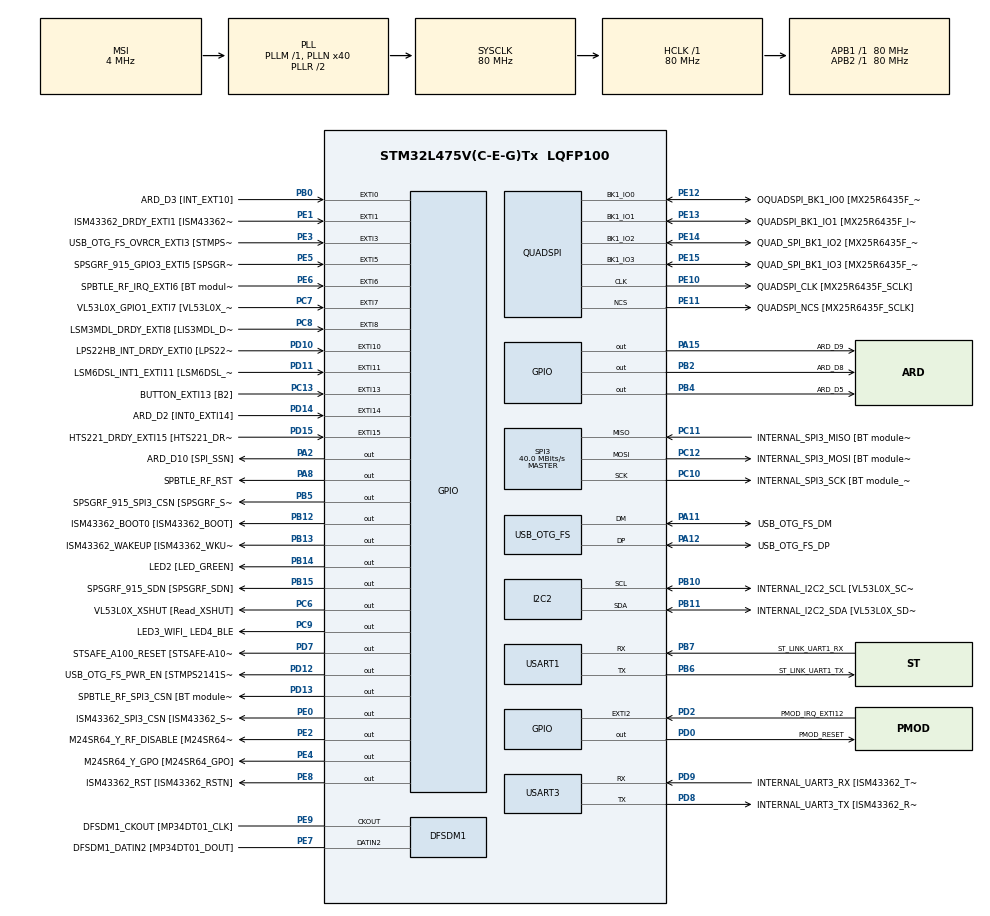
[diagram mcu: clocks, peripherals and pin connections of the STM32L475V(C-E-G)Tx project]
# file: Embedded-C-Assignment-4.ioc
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Dma.I2C2_RX.0.Direction=DMA_PERIPH_TO_MEMORY
Dma.I2C2_RX.0.Instance=DMA1_Channel5
Dma.I2C2_RX.0.MemDataAlignment=DMA_MDATAALIGN_BYTE
Dma.I2C2_RX.0.MemInc=DMA_MINC_ENABLE
Dma.I2C2_RX.0.Mode=DMA_NORMAL
Dma.I2C2_RX.0.PeriphDataAlignment=DMA_PDATAALIGN_BYTE
Dma.I2C2_RX.0.PeriphInc=DMA_PINC_DISABLE
Dma.I2C2_RX.0.Priority=DMA_PRIORITY_LOW
Dma.I2C2_TX.1.Direction=DMA_MEMORY_TO_PERIPH
Dma.I2C2_TX.1.Instance=DMA1_Channel4
Dma.I2C2_TX.1.MemDataAlignment=DMA_MDATAALIGN_BYTE
Dma.I2C2_TX.1.MemInc=DMA_MINC_ENABLE
Dma.I2C2_TX.1.Mode=DMA_NORMAL
Dma.I2C2_TX.1.PeriphDataAlignment=DMA_PDATAALIGN_BYTE
Dma.I2C2_TX.1.PeriphInc=DMA_PINC_DISABLE
Dma.I2C2_TX.1.Priority=DMA_PRIORITY_LOW
Dma.Request0=I2C2_RX
Dma.Request1=I2C2_TX
Mcu.Family=STM32L4
Mcu.Name=STM32L475V(C-E-G)Tx
Mcu.Package=LQFP100
NVIC.DMA1_Channel4_IRQn=true\:0\:0\:false\:false\:true\:false\:true\:true
NVIC.DMA1_Channel5_IRQn=true\:0\:0\:false\:false\:true\:false\:true\:true
NVIC.EXTI15_10_IRQn=true\:0\:0\:false\:false\:true\:true\:true\:true
NVIC.EXTI9_5_IRQn=true\:0\:0\:false\:false\:true\:true\:true\:true
NVIC.I2C2_EV_IRQn=true\:0\:0\:false\:false\:true\:true\:true\:true
NVIC.PriorityGroup=NVIC_PRIORITYGROUP_4
PA0.GPIO_Label=ARD_D1 [UART4_TX]
PA0.Signal=UART4_TX
PA1.GPIO_Label=ARD_D0 [UART4_RX]
PA1.Signal=UART4_RX
PA10.GPIO_Label=USB_OTG_FS_ID
PA10.Signal=USB_OTG_FS_ID
PA11.GPIO_Label=USB_OTG_FS_DM
PA11.Mode=Device_Only
PA11.Signal=USB_OTG_FS_DM
PA12.GPIO_Label=USB_OTG_FS_DP
PA12.Mode=Device_Only
PA12.Signal=USB_OTG_FS_DP
PA13\ (JTMS-SWDIO).GPIO_Label=SYS_JTMS_SWDIO
PA13\ (JTMS-SWDIO).Mode=Serial_Wire
PA13\ (JTMS-SWDIO).Signal=SYS_JTMS-SWDIO
PA14\ (JTCK-SWCLK).GPIO_Label=SYS_JTCK_SWCLK
PA14\ (JTCK-SWCLK).Mode=Serial_Wire
PA14\ (JTCK-SWCLK).Signal=SYS_JTCK-SWCLK
PA15\ (JTDI).GPIO_Label=ARD_D9
PA15\ (JTDI).Signal=GPIO_Output
PA2.GPIO_Label=ARD_D10 [SPI_SSN]
PA2.Signal=GPIO_Output
PA3.GPIO_Label=ARD_D4
PA3.Signal=S_TIM2_CH4
PA4.GPIO_Label=ARD_D7
PA4.Signal=ADCx_IN9
PA5.GPIO_Label=ARD_D13 [SPI1_SCK]
PA5.Signal=SPI1_SCK
PA6.GPIO_Label=ARD_D12 [SPI1_MISO]
PA6.Signal=SPI1_MISO
PA7.GPIO_Label=ARD_D11 [SPI1_MOSI]
PA7.Signal=SPI1_MOSI
PA8.GPIO_Label=SPBTLE_RF_RST
PA8.Signal=GPIO_Output
PA9.GPIO_Label=USB_OTG_FS_VBUS [STMPS2141STR_OUT]
PA9.Signal=USB_OTG_FS_VBUS
PB0.GPIO_Label=ARD_D3 [INT_EXT10]
PB0.Signal=GPXTI0
PB1.GPIO_Label=ARD_D6 [ADC1_IN6]
PB1.Signal=ADCx_IN16
PB10.GPIO_Label=INTERNAL_I2C2_SCL [VL53L0X_SCL]
PB10.GPIO_Pu=GPIO_PULLUP
PB10.Mode=I2C
PB10.Signal=I2C2_SCL
PB11.GPIO_Label=INTERNAL_I2C2_SDA [VL53L0X_SDA]
PB11.GPIO_Pu=GPIO_PULLUP
PB11.Mode=I2C
PB11.Signal=I2C2_SDA
PB12.GPIO_Label=ISM43362_BOOT0 [ISM43362_BOOT]
PB12.Signal=GPIO_Output
PB13.GPIO_Label=ISM43362_WAKEUP [ISM43362_WKUP]
PB13.Signal=GPIO_Output
PB14.GPIO_Label=LED2 [LED_GREEN]
PB14.Signal=GPIO_Output
PB15.GPIO_Label=SPSGRF_915_SDN [SPSGRF_SDN]
PB15.Signal=GPIO_Output
PB2.GPIO_Label=ARD_D8
PB2.Signal=GPIO_Output
PB3\ (JTDO-TRACESWO).GPIO_Label=SYS_JTD0_SWO
PB3\ (JTDO-TRACESWO).Signal=SYS_JTDO-SWO
PB4\ (NJTRST).GPIO_Label=ARD_D5
PB4\ (NJTRST).Signal=GPIO_Output
PB5.GPIO_Label=SPSGRF_915_SPI3_CSN [SPSGRF_SPI_CS]
PB5.PinState=GPIO_PIN_SET
PB5.Signal=GPIO_Output
PB6.GPIO_Label=ST_LINK_UART1_TX
PB6.Mode=Asynchronous
PB6.Signal=USART1_TX
PB7.GPIO_Label=ST_LINK_UART1_RX
PB7.Mode=Asynchronous
PB7.Signal=USART1_RX
PB8.GPIO_Label=ARD_D15 [I2C1_SCL]
PB8.Signal=I2C1_SCL
PB9.GPIO_Label=ARD_D14 [I2C1_SDA]
PB9.Signal=I2C1_SDA
PC0.GPIO_Label=ARD_A5 [ADC]
PC0.Signal=ADCx_IN1
PC1.GPIO_Label=ARD_A4 [ADC]
PC1.Signal=ADCx_IN2
PC10.GPIO_Label=INTERNAL_SPI3_SCK [BT module_SPI_SCLK] [ISM43362_SCK]
PC10.Mode=Full_Duplex_Master
PC10.Signal=SPI3_SCK
PC11.GPIO_Label=INTERNAL_SPI3_MISO [BT module_SPI_MISO] [ISM43362_MISO]
PC11.Mode=Full_Duplex_Master
PC11.Signal=SPI3_MISO
PC12.GPIO_Label=INTERNAL_SPI3_MOSI [BT module_SPI_MOSI] [ISM43362_MOSI]
PC12.Mode=Full_Duplex_Master
PC12.Signal=SPI3_MOSI
PC13.GPIO_Label=BUTTON_EXTI13 [B2]
PC13.GPIO_ModeDefaultEXTI=GPIO_MODE_IT_FALLING
PC13.Signal=GPXTI13
PC14-OSC32_IN\ (PC14).Mode=LSE-External-Oscillator
PC14-OSC32_IN\ (PC14).Signal=RCC_OSC32_IN
PC15-OSC32_OUT\ (PC15).Mode=LSE-External-Oscillator
PC15-OSC32_OUT\ (PC15).Signal=RCC_OSC32_OUT
PC2.GPIO_Label=ARD_A3 [ADC]
PC2.Signal=ADCx_IN3
PC3.GPIO_Label=ARD_A2 [ADC]
PC3.Signal=ADCx_IN4
PC4.GPIO_Label=ARD_A1 [ADC]
PC4.Signal=ADCx_IN13
PC5.GPIO_Label=ARD_A0 [ADC]
PC5.Signal=ADCx_IN14
PC6.GPIO_Label=VL53L0X_XSHUT [Read_XSHUT]
PC6.Signal=GPIO_Output
PC7.GPIO_Label=VL53L0X_GPIO1_EXTI7 [VL53L0X_GPIO1]
PC7.Signal=GPXTI7
PC8.GPIO_Label=LSM3MDL_DRDY_EXTI8 [LIS3MDL_DRDY]
PC8.Signal=GPXTI8
PC9.GPIO_Label=LED3_WIFI_ LED4_BLE
PC9.Signal=GPIO_Output
PD0.GPIO_Label=PMOD_RESET
PD0.Signal=GPIO_Output
PD1.GPIO_Label=PMOD_SPI2_SCK
PD1.Signal=SPI2_SCK
PD10.GPIO_Label=LPS22HB_INT_DRDY_EXTI0 [LPS22HB_INT_DRDY] 
PD10.Signal=GPXTI10
PD11.GPIO_Label=LSM6DSL_INT1_EXTI11 [LSM6DSL_INT1]
PD11.Signal=GPXTI11
PD12.GPIO_Label=USB_OTG_FS_PWR_EN [STMPS2141STR_EN]
PD12.Signal=GPIO_Output
PD13.GPIO_Label=SPBTLE_RF_SPI3_CSN [BT module_SPI_CS]
PD13.PinState=GPIO_PIN_SET
PD13.Signal=GPIO_Output
PD14.GPIO_Label=ARD_D2 [INT0_EXTI14]
PD14.Signal=GPXTI14
PD15.GPIO_Label=HTS221_DRDY_EXTI15 [HTS221_DRDY]
PD15.Signal=GPXTI15
PD2.GPIO_Label=PMOD_IRQ_EXTI12
PD2.Signal=GPXTI2
PD3.GPIO_Label=PMOD_UART2_CTS
PD3.Signal=USART2_CTS
PD4.GPIO_Label=PMOD_UART2_RTS
PD4.Signal=USART2_RTS
PD5.GPIO_Label=PMOD_UART2_TX
PD5.Signal=USART2_TX
PD6.GPIO_Label=PMOD_UART2_RX
PD6.Signal=USART2_RX
PD7.GPIO_Label=STSAFE_A100_RESET [STSAFE-A100_RESET]
PD7.Signal=GPIO_Output
PD8.GPIO_Label=INTERNAL_UART3_TX [ISM43362_RX]
PD8.Mode=Asynchronous
PD8.Signal=USART3_TX
PD9.GPIO_Label=INTERNAL_UART3_RX [ISM43362_TX]
PD9.Mode=Asynchronous
PD9.Signal=USART3_RX
PE0.GPIO_Label=ISM43362_SPI3_CSN [ISM43362_SSN]
PE0.PinState=GPIO_PIN_SET
PE0.Signal=GPIO_Output
PE1.GPIO_Label=ISM43362_DRDY_EXTI1 [ISM43362_DATARDY]
PE1.Signal=GPXTI1
PE10.GPIO_Label=QUADSPI_CLK [MX25R6435F_SCLK]
PE10.Mode=Single Bank
PE10.Signal=QUADSPI_CLK
PE11.GPIO_Label=QUADSPI_NCS [MX25R6435F_SCLK]
PE11.Mode=Single Bank
PE11.Signal=QUADSPI_NCS
PE12.GPIO_Label=OQUADSPI_BK1_IO0 [MX25R6435F_IO0]
PE12.Mode=Single Bank
PE12.Signal=QUADSPI_BK1_IO0
PE13.GPIO_Label=QUADSPI_BK1_IO1 [MX25R6435F_IO1]
PE13.Mode=Single Bank
PE13.Signal=QUADSPI_BK1_IO1
PE14.GPIO_Label=QUAD_SPI_BK1_IO2 [MX25R6435F_IO2]
PE14.Mode=Single Bank
PE14.Signal=QUADSPI_BK1_IO2
PE15.GPIO_Label=QUAD_SPI_BK1_IO3 [MX25R6435F_IO3]
PE15.Mode=Single Bank
PE15.Signal=QUADSPI_BK1_IO3
PE2.GPIO_Label=M24SR64_Y_RF_DISABLE [M24SR64_RFDIS]
PE2.Signal=GPIO_Output
PE3.GPIO_Label=USB_OTG_FS_OVRCR_EXTI3 [STMPS2141STR_FAULT]
PE3.Signal=GPXTI3
PE4.GPIO_Label=M24SR64_Y_GPO [M24SR64_GPO]
PE4.Signal=GPIO_Output
PE5.GPIO_Label=SPSGRF_915_GPIO3_EXTI5 [SPSGRF_GPIO_3]
PE5.Signal=GPXTI5
PE6.GPIO_Label=SPBTLE_RF_IRQ_EXTI6 [BT module_SPI_IRQ]
PE6.Signal=GPXTI6
PE7.GPIO_Label=DFSDM1_DATIN2 [MP34DT01_DOUT]
PE7.Signal=S_DATAIN2DFSDM1
PE8.GPIO_Label=ISM43362_RST [ISM43362_RSTN]
PE8.Signal=GPIO_Output
PE9.GPIO_Label=DFSDM1_CKOUT [MP34DT01_CLK]
PE9.Signal=S_CKOUTDFSDM1
ProjectManager.HeapSize=0x200
ProjectManager.StackSize=0x400
ProjectManager.TargetToolchain=STM32CubeIDE
QUADSPI.ClockPrescaler=2
QUADSPI.FifoThreshold=4
QUADSPI.FlashSize=23
QUADSPI.SampleShifting=QSPI_SAMPLE_SHIFTING_HALFCYCLE
RCC.ADCFreq_Value=48000000
RCC.AHBFreq_Value=80000000
RCC.APB1Freq_Value=80000000
RCC.APB1TimFreq_Value=80000000
RCC.APB2Freq_Value=80000000
RCC.APB2TimFreq_Value=80000000
RCC.CortexFreq_Value=80000000
RCC.HCLKFreq_Value=80000000
RCC.HSE_VALUE=8000000
RCC.HSI_VALUE=16000000
RCC.MSI_VALUE=4000000
RCC.PLLN=40
RCC.PLLSAI1N=24
RCC.SYSCLKFreq_VALUE=80000000
RCC.SYSCLKSource=RCC_SYSCLKSOURCE_PLLCLK
RCC.USBFreq_Value=48000000
RCC.VCOOutputFreq_Value=160000000
SH.ADCx_IN1.0=ADC1_IN1
SH.ADCx_IN13.0=ADC1_IN13
SH.ADCx_IN14.0=ADC1_IN14
SH.ADCx_IN16.0=ADC1_IN16
SH.ADCx_IN2.0=ADC1_IN2
SH.ADCx_IN3.0=ADC1_IN3
SH.ADCx_IN4.0=ADC1_IN4
SH.ADCx_IN9.0=ADC1_IN9
SH.S_CKOUTDFSDM1.0=DFSDM1_CKOUT,CKOUT
SH.S_CKOUTDFSDM1.1=DFSDM1_CKOUT,PDM_SPI_Input_from_ch12_and_Internal_Clock
SH.S_DATAIN2DFSDM1.0=DFSDM1_DATIN2,PDM_SPI_Input_from_ch12_and_Internal_Clock
SH.S_TIM2_CH4.0=TIM2_CH4
SPI3.CalculateBaudRate=40.0 MBits/s
SPI3.Direction=SPI_DIRECTION_2LINES
SPI3.Mode=SPI_MODE_MASTER
SPI3.VirtualType=VM_MASTER
USART1.VirtualMode-Asynchronous=VM_ASYNC
USART3.VirtualMode-Asynchronous=VM_ASYNC
USB_OTG_FS.VirtualMode=Device_Only
board=B-L475E-IOT01A2

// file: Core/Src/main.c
/* USER CODE BEGIN Header */
/**
  ******************************************************************************
  * @file           : main.c
  * @brief          : Main program body
  ******************************************************************************
  * @attention
  *
  * Copyright (c) 2023 STMicroelectronics.
  * All rights reserved.
  *
  * This software is licensed under terms that can be found in the LICENSE file
  * in the root directory of this software component.
  * If no LICENSE file comes with this software, it is provided AS-IS.
  *
  ******************************************************************************
  */
/* USER CODE END Header */
#include "main.h"

/* USER CODE BEGIN Includes */
#include <string.h>
#include <stdio.h>
/* USER CODE END Includes */

DFSDM_Channel_HandleTypeDef hdfsdm1_channel1;

I2C_HandleTypeDef hi2c2;
DMA_HandleTypeDef hdma_i2c2_rx;
DMA_HandleTypeDef hdma_i2c2_tx;

QSPI_HandleTypeDef hqspi;

SPI_HandleTypeDef hspi3;

UART_HandleTypeDef huart1;
UART_HandleTypeDef huart3;

PCD_HandleTypeDef hpcd_USB_OTG_FS;

void SystemClock_Config(void);
static void MX_GPIO_Init(void);
static void MX_DMA_Init(void);
static void MX_DFSDM1_Init(void);
static void MX_I2C2_Init(void);
static void MX_QUADSPI_Init(void);
static void MX_SPI3_Init(void);
static void MX_USART1_UART_Init(void);
static void MX_USART3_UART_Init(void);
static void MX_USB_OTG_FS_PCD_Init(void);

/* USER CODE BEGIN 0 */
#define HST221_READ_ADDRESS 0xbf
#define HST221_WRITE_ADDRESS 0xbe

static uint8_t irq_complete = 0;
static uint8_t status_flag = 0;
static uint16_t data = 0;
static uint8_t status_data = 0;

void do_who_am_i()
{
	// Step 1. send sub address
	// Write sub address
	uint8_t who_am_i = 0xf; // WHO_AM_I register
	HAL_StatusTypeDef status;
	status = HAL_I2C_Master_Transmit(&hi2c2, HST221_WRITE_ADDRESS, &who_am_i, sizeof(who_am_i), 1000);

	char buf[100];
	snprintf(buf, sizeof(buf), "HAL_I2C_Master_Transmit: status: %u\r\n", status);
	HAL_UART_Transmit(&huart1, (uint8_t*)buf, strlen(buf), 1000);

	// Step 2. read from address to get WHO_AM_I
	uint8_t data = 0x42;
	status = HAL_I2C_Master_Receive(&hi2c2, HST221_READ_ADDRESS, &data, sizeof(data), 1000);

	snprintf(buf, sizeof(buf), "HAL_I2C_Master_Receive: status: %u, data: 0x%x\r\n", status, data);
	HAL_UART_Transmit(&huart1, (uint8_t*)buf, strlen(buf), 1000);

}

void do_temp_polled()
{
	// Setup control register 1
	uint8_t control_reg1 = 0x20;
	uint8_t control_data1[] = {control_reg1, 0x85}; // output registers not updated until MSB and LSB reading, 1 Hz
	HAL_StatusTypeDef status;
	status = HAL_I2C_Master_Transmit(&hi2c2, HST221_WRITE_ADDRESS, control_data1, sizeof(control_data1), 1000);

	// Start a conversion
	uint8_t control_reg2 = 0x21;
	uint8_t control_data2[] = {control_reg2, 0x01};
	status = HAL_I2C_Master_Transmit(&hi2c2, HST221_WRITE_ADDRESS, control_data2, sizeof(control_data2), 1000);

	char buf[100];
	snprintf(buf, sizeof(buf), "(One-shot enable) HAL_I2C_Master_Transmit: status: %u\r\n", status);
	HAL_UART_Transmit(&huart1, (uint8_t*)buf, strlen(buf), 1000);

	// Wait for conversion complete
	uint8_t status_reg = 0x27;
	uint8_t status_data = 0;
	int count = 0;
	while(count < 10)
	{
		// Send read status register sub command
		status = HAL_I2C_Master_Transmit(&hi2c2, HST221_WRITE_ADDRESS, &status_reg, sizeof(status_reg), 1000);
		snprintf(buf, sizeof(buf), "[%d] (status_reg) HAL_I2C_Master_Transmit: status: %u\r\n", count, status);
		HAL_UART_Transmit(&huart1, (uint8_t*)buf, strlen(buf), 1000);

		// Read conversion status
		status = HAL_I2C_Master_Receive(&hi2c2, HST221_READ_ADDRESS, (uint8_t*)&status_data, sizeof(status_data), 1000);
		snprintf(buf, sizeof(buf), "Status register: 0x%02x\r\n", status_data);
		HAL_UART_Transmit(&huart1, (uint8_t*)buf, strlen(buf), 1000);

		// Check for temperature conversion complete
		if(status_data & 0x1)
		{
			snprintf(buf, sizeof(buf), "New data available!\r\n");
			HAL_UART_Transmit(&huart1, (uint8_t*)buf, strlen(buf), 1000);
			break;
		}
		HAL_Delay(1000);
		count++;
	}

	// Toggle between normal poll and address increment poll
	static int toggle = 1;

	if(toggle)
	{
		toggle = 0;

		// Read temperature LSB
		uint8_t temperature_lsb = 0x2a;
		status = HAL_I2C_Master_Transmit(&hi2c2, HST221_WRITE_ADDRESS, &temperature_lsb, sizeof(temperature_lsb), 1000);
		snprintf(buf, sizeof(buf), "(LSB) HAL_I2C_Master_Transmit: status: %u\r\n", status);
		HAL_UART_Transmit(&huart1, (uint8_t*)buf, strlen(buf), 1000);

		uint8_t data_lsb = 0x42;
		status = HAL_I2C_Master_Receive(&hi2c2, HST221_READ_ADDRESS, (uint8_t*)&data_lsb, sizeof(data_lsb), 1000);
		snprintf(buf, sizeof(buf), "(LSB) HAL_I2C_Master_Receive: status: %u, data_lsb: 0x%02x\r\n", status, data_lsb);
		HAL_UART_Transmit(&huart1, (uint8_t*)buf, strlen(buf), 1000);

		// Read temperature MSB
		uint8_t temperature_msb = 0x2b;
		status = HAL_I2C_Master_Transmit(&hi2c2, HST221_WRITE_ADDRESS, &temperature_msb, sizeof(temperature_msb), 1000);
		snprintf(buf, sizeof(buf), "(MSB) HAL_I2C_Master_Transmit: status: %u\r\n", status);
		HAL_UART_Transmit(&huart1, (uint8_t*)buf, strlen(buf), 1000);

		uint8_t data_msb = 0x42;
		status = HAL_I2C_Master_Receive(&hi2c2, HST221_READ_ADDRESS, (uint8_t*)&data_msb, sizeof(data_msb), 1000);
		snprintf(buf, sizeof(buf), "(MSB) HAL_I2C_Master_Receive: status: %u, data_msb: 0x%02x\r\n", status, data_msb);
		HAL_UART_Transmit(&huart1, (uint8_t*)buf, strlen(buf), 1000);
	}
	else
	{
		toggle = 1;
		// Read using auto increment
		uint8_t temperature_lsb = 0x2a | 0x80;
		status = HAL_I2C_Master_Transmit(&hi2c2, HST221_WRITE_ADDRESS, &temperature_lsb, sizeof(temperature_lsb), 1000);
		snprintf(buf, sizeof(buf), "(Auto increment) HAL_I2C_Master_Transmit: status: %u\r\n", status);
		HAL_UART_Transmit(&huart1, (uint8_t*)buf, strlen(buf), 1000);

		uint16_t data = 0x4242;
		status = HAL_I2C_Master_Receive(&hi2c2, HST221_READ_ADDRESS, (uint8_t*)&data, sizeof(data), 1000);
		snprintf(buf, sizeof(buf), "(Auto increment) HAL_I2C_Master_Receive: status: %u, data_msb: 0x%04x\r\n", status, data);
		HAL_UART_Transmit(&huart1, (uint8_t*)buf, strlen(buf), 1000);
	}

}

void do_temp_interrupt()
{
	irq_complete = 0;
	char buf[100];
	// Setup control register 1
	uint8_t control_reg1 = 0x20;
	uint8_t control_data1[] = {control_reg1, 0x85}; // output registers not updated until MSB and LSB reading, 1 Hz
	HAL_StatusTypeDef status;
	status = HAL_I2C_Master_Transmit_IT(&hi2c2, HST221_WRITE_ADDRESS, control_data1, sizeof(control_data1));
	snprintf(buf, sizeof(buf), "(Control register 1) HAL_I2C_Master_Transmit_IT: status: %u\r\n", status);
	HAL_UART_Transmit(&huart1, (uint8_t*)buf, strlen(buf), 1000);
	while(0 == irq_complete)
	{
		HAL_Delay(1000);
	}

	irq_complete = 0;
	// Start a conversion but interrupt driven
	int control_reg2 = 0x21;
	uint8_t control_data2[] = {control_reg2, 0x01}; // One-shot enable
	status = HAL_I2C_Master_Transmit_IT(&hi2c2, HST221_WRITE_ADDRESS, control_data2, sizeof(control_data2));
	snprintf(buf, sizeof(buf), "(One-shot Enable) HAL_I2C_Master_Transmit_IT: status: %u\r\n", status);
	HAL_UART_Transmit(&huart1, (uint8_t*)buf, strlen(buf), 1000);
	while(0 == irq_complete)
	{
		HAL_Delay(1000);
	}

	irq_complete = 0;
	// Wait for conversion complete
	uint8_t status_reg = 0x27;
	int count = 0;
	while(count < 10)
	{
		// Send read status register sub command
		status = HAL_I2C_Master_Transmit_IT(&hi2c2, HST221_WRITE_ADDRESS, &status_reg, sizeof(status_reg));
		snprintf(buf, sizeof(buf), "[%d] (status_reg) HAL_I2C_Master_Transmit_IT: status: %u\r\n", count, status);
		HAL_UART_Transmit(&huart1, (uint8_t*)buf, strlen(buf), 1000);
		while(0 == irq_complete)
		{
			HAL_Delay(1000);
		}

		irq_complete = 0;
		status_flag = 1;
		// Read conversion status
		status = HAL_I2C_Master_Receive_IT(&hi2c2, HST221_READ_ADDRESS, (uint8_t*)&status_data, sizeof(status_data));
		while(0 == irq_complete)
		{
			HAL_Delay(1000);
		}

		// Check for temperature conversion complete
		if(status_data & 0x1)
		{
			snprintf(buf, sizeof(buf), "New data available!\r\n");
			HAL_UART_Transmit(&huart1, (uint8_t*)buf, strlen(buf), 1000);
			break;
		}
		HAL_Delay(1000);
		count++;
	}

	irq_complete = 0;
	// Read using auto increment
	uint8_t temperature_lsb = 0x2a | 0x80;
	status = HAL_I2C_Master_Transmit_IT(&hi2c2, HST221_WRITE_ADDRESS, &temperature_lsb, sizeof(temperature_lsb));
	snprintf(buf, sizeof(buf), "(Auto increment) HAL_I2C_Master_Transmit_IT: status: %u\r\n", status);
	HAL_UART_Transmit(&huart1, (uint8_t*)buf, strlen(buf), 1000);
	while(0 == irq_complete)
	{
		HAL_Delay(1000);
	}

	irq_complete = 0;
	// Receive using interrupt
	status = HAL_I2C_Master_Receive_IT(&hi2c2, HST221_READ_ADDRESS, (uint8_t*)&data, sizeof(data));
	snprintf(buf, sizeof(buf), "(Auto increment) HAL_I2C_Master_Receive_IT: status: %u\r\n", status);
	HAL_UART_Transmit(&huart1, (uint8_t*)buf, strlen(buf), 1000);
	while(0 == irq_complete)
	{
		HAL_Delay(1000);
	}
}

void do_temp_dma()
{
	irq_complete = 0;
	char buf[100];
	// Setup control register 1
	uint8_t control_reg1 = 0x20;
	uint8_t control_data1[] = {control_reg1, 0x85}; // output registers not updated until MSB and LSB reading, 1 Hz
	HAL_StatusTypeDef status;
	status = HAL_I2C_Master_Transmit_DMA(&hi2c2, HST221_WRITE_ADDRESS, control_data1, sizeof(control_data1));
	snprintf(buf, sizeof(buf), "(Control register 1) HAL_I2C_Master_Transmit_DMA: status: %u\r\n", status);
	HAL_UART_Transmit(&huart1, (uint8_t*)buf, strlen(buf), 1000);
	while(0 == irq_complete)
	{
		HAL_Delay(1000);
	}

	irq_complete = 0;
	// Start a conversion but interrupt driven
	int control_reg2 = 0x21;
	uint8_t control_data2[] = {control_reg2, 0x01}; // One-shot enable
	status = HAL_I2C_Master_Transmit_DMA(&hi2c2, HST221_WRITE_ADDRESS, control_data2, sizeof(control_data2));
	snprintf(buf, sizeof(buf), "(One-shot Enable) HAL_I2C_Master_Transmit_DMA: status: %u\r\n", status);
	HAL_UART_Transmit(&huart1, (uint8_t*)buf, strlen(buf), 1000);
	while(0 == irq_complete)
	{
		HAL_Delay(1000);
	}
	irq_complete = 0;
	// Wait for conversion complete
	uint8_t status_reg = 0x27;
	int count = 0;
	while(count < 10)
	{
		// Send read status register sub command
		status = HAL_I2C_Master_Transmit_DMA(&hi2c2, HST221_WRITE_ADDRESS, &status_reg, sizeof(status_reg));
		snprintf(buf, sizeof(buf), "[%d] (status_reg) HAL_I2C_Master_Transmit_DMA: status: %u\r\n", count, status);
		HAL_UART_Transmit(&huart1, (uint8_t*)buf, strlen(buf), 1000);
		while(0 == irq_complete)
		{
			HAL_Delay(1000);
		}

		irq_complete = 0;
		status_flag = 1;
		// Read conversion status
		status = HAL_I2C_Master_Receive_DMA(&hi2c2, HST221_READ_ADDRESS, (uint8_t*)&status_data, sizeof(status_data));
		while(0 == irq_complete)
		{
			HAL_Delay(1000);
		}

		// Check for temperature conversion complete
		if(status_data & 0x1)
		{
			snprintf(buf, sizeof(buf), "New data available!\r\n");
			HAL_UART_Transmit(&huart1, (uint8_t*)buf, strlen(buf), 1000);
			break;
		}
		HAL_Delay(1000);
		count++;
	}
	irq_complete = 0;
	// Read using auto increment
	uint8_t temperature_lsb = 0x2a | 0x80;
	status = HAL_I2C_Master_Transmit_DMA(&hi2c2, HST221_WRITE_ADDRESS, &temperature_lsb, sizeof(temperature_lsb));
	snprintf(buf, sizeof(buf), "(Auto increment) HAL_I2C_Master_Transmit_DMA: status: %u\r\n", status);
	HAL_UART_Transmit(&huart1, (uint8_t*)buf, strlen(buf), 1000);
	while(0 == irq_complete)
	{
		HAL_Delay(1000);
	}
	irq_complete = 0;
	// Receive using interrupt
	status = HAL_I2C_Master_Receive_DMA(&hi2c2, HST221_READ_ADDRESS, (uint8_t*)&data, sizeof(data));
	snprintf(buf, sizeof(buf), "(Auto increment) HAL_I2C_Master_Receive_DMA: status: %u\r\n", status);
	HAL_UART_Transmit(&huart1, (uint8_t*)buf, strlen(buf), 1000);
	while(0 == irq_complete)
	{
		HAL_Delay(1000);
	}
}

/* USER CODE END 0 */

int main(void)
{

  /* MCU Configuration--------------------------------------------------------*/

  /* Reset of all peripherals, Initializes the Flash interface and the Systick. */
  HAL_Init();

  /* Configure the system clock */
  SystemClock_Config();

  /* Initialize all configured peripherals */
  MX_GPIO_Init();
  MX_DMA_Init();
  MX_DFSDM1_Init();
  MX_I2C2_Init();
  MX_QUADSPI_Init();
  MX_SPI3_Init();
  MX_USART1_UART_Init();
  MX_USART3_UART_Init();
  MX_USB_OTG_FS_PCD_Init();

  /* Infinite loop */
  while (1)
  {

    /* USER CODE BEGIN 3 */
	// Issue command prompt
	char *prompt = "Options: 1=WHO_AM_I, 2=Temp(Polling), 3=Temp(Interrupt), 4=Temp(DMA)\n\rcmd> ";
	HAL_UART_Transmit(&huart1, (uint8_t*)prompt, strlen(prompt), 1000);

	// Wait for a single number entry
	char ch;
	HAL_UART_Receive(&huart1, (uint8_t*)&ch, 1, HAL_MAX_DELAY);

	char *msg = "\r\n";
	HAL_UART_Transmit(&huart1, (uint8_t*)msg, strlen(msg), 1000);

	switch(ch)
	{
	case '1': /*msg= "\r\nTODO: WHO_AM_I\r\n";*/ do_who_am_i(); break;
	case '2': /*msg= "\r\nTODO: Temp(Polling)\r\n";*/ do_temp_polled(); break;
	case '3': /*msg= "\r\nTODO: Temp(Interrupt)\r\n";*/ do_temp_interrupt(); break;
	case '4': /*msg= "\r\nTODO: Temp(DMA)\r\n";*/ do_temp_dma(); break;
	// Fall through if none
	}
	// HAL_UART_Transmit(&huart1, (uint8_t*)msg, strlen(msg), 1000);

  }
  /* USER CODE END 3 */
}

void SystemClock_Config(void)
{
  RCC_OscInitTypeDef RCC_OscInitStruct = {0};
  RCC_ClkInitTypeDef RCC_ClkInitStruct = {0};

  /** Configure the main internal regulator output voltage
  */
  if (HAL_PWREx_ControlVoltageScaling(PWR_REGULATOR_VOLTAGE_SCALE1) != HAL_OK)
  {
    Error_Handler();
  }

  /** Configure LSE Drive Capability
  */
  HAL_PWR_EnableBkUpAccess();
  __HAL_RCC_LSEDRIVE_CONFIG(RCC_LSEDRIVE_LOW);

  /** Initializes the RCC Oscillators according to the specified parameters
  * in the RCC_OscInitTypeDef structure.
  */
  RCC_OscInitStruct.OscillatorType = RCC_OSCILLATORTYPE_LSE|RCC_OSCILLATORTYPE_MSI;
  RCC_OscInitStruct.LSEState = RCC_LSE_ON;
  RCC_OscInitStruct.MSIState = RCC_MSI_ON;
  RCC_OscInitStruct.MSICalibrationValue = 0;
  RCC_OscInitStruct.MSIClockRange = RCC_MSIRANGE_6;
  RCC_OscInitStruct.PLL.PLLState = RCC_PLL_ON;
  RCC_OscInitStruct.PLL.PLLSource = RCC_PLLSOURCE_MSI;
  RCC_OscInitStruct.PLL.PLLM = 1;
  RCC_OscInitStruct.PLL.PLLN = 40;
  RCC_OscInitStruct.PLL.PLLP = RCC_PLLP_DIV7;
  RCC_OscInitStruct.PLL.PLLQ = RCC_PLLQ_DIV2;
  RCC_OscInitStruct.PLL.PLLR = RCC_PLLR_DIV2;
  if (HAL_RCC_OscConfig(&RCC_OscInitStruct) != HAL_OK)
  {
    Error_Handler();
  }

  /** Initializes the CPU, AHB and APB buses clocks
  */
  RCC_ClkInitStruct.ClockType = RCC_CLOCKTYPE_HCLK|RCC_CLOCKTYPE_SYSCLK
                              |RCC_CLOCKTYPE_PCLK1|RCC_CLOCKTYPE_PCLK2;
  RCC_ClkInitStruct.SYSCLKSource = RCC_SYSCLKSOURCE_PLLCLK;
  RCC_ClkInitStruct.AHBCLKDivider = RCC_SYSCLK_DIV1;
  RCC_ClkInitStruct.APB1CLKDivider = RCC_HCLK_DIV1;
  RCC_ClkInitStruct.APB2CLKDivider = RCC_HCLK_DIV1;

  if (HAL_RCC_ClockConfig(&RCC_ClkInitStruct, FLASH_LATENCY_4) != HAL_OK)
  {
    Error_Handler();
  }

  /** Enable MSI Auto calibration
  */
  HAL_RCCEx_EnableMSIPLLMode();
}

static void MX_DFSDM1_Init(void)
{

  hdfsdm1_channel1.Instance = DFSDM1_Channel1;
  hdfsdm1_channel1.Init.OutputClock.Activation = ENABLE;
  hdfsdm1_channel1.Init.OutputClock.Selection = DFSDM_CHANNEL_OUTPUT_CLOCK_SYSTEM;
  hdfsdm1_channel1.Init.OutputClock.Divider = 2;
  hdfsdm1_channel1.Init.Input.Multiplexer = DFSDM_CHANNEL_EXTERNAL_INPUTS;
  hdfsdm1_channel1.Init.Input.DataPacking = DFSDM_CHANNEL_STANDARD_MODE;
  hdfsdm1_channel1.Init.Input.Pins = DFSDM_CHANNEL_FOLLOWING_CHANNEL_PINS;
  hdfsdm1_channel1.Init.SerialInterface.Type = DFSDM_CHANNEL_SPI_RISING;
  hdfsdm1_channel1.Init.SerialInterface.SpiClock = DFSDM_CHANNEL_SPI_CLOCK_INTERNAL;
  hdfsdm1_channel1.Init.Awd.FilterOrder = DFSDM_CHANNEL_FASTSINC_ORDER;
  hdfsdm1_channel1.Init.Awd.Oversampling = 1;
  hdfsdm1_channel1.Init.Offset = 0;
  hdfsdm1_channel1.Init.RightBitShift = 0x00;
  if (HAL_DFSDM_ChannelInit(&hdfsdm1_channel1) != HAL_OK)
  {
    Error_Handler();
  }

}

static void MX_I2C2_Init(void)
{

  hi2c2.Instance = I2C2;
  hi2c2.Init.Timing = 0x00000E14;
  hi2c2.Init.OwnAddress1 = 0;
  hi2c2.Init.AddressingMode = I2C_ADDRESSINGMODE_7BIT;
  hi2c2.Init.DualAddressMode = I2C_DUALADDRESS_DISABLE;
  hi2c2.Init.OwnAddress2 = 0;
  hi2c2.Init.OwnAddress2Masks = I2C_OA2_NOMASK;
  hi2c2.Init.GeneralCallMode = I2C_GENERALCALL_DISABLE;
  hi2c2.Init.NoStretchMode = I2C_NOSTRETCH_DISABLE;
  if (HAL_I2C_Init(&hi2c2) != HAL_OK)
  {
    Error_Handler();
  }

  /** Configure Analogue filter
  */
  if (HAL_I2CEx_ConfigAnalogFilter(&hi2c2, I2C_ANALOGFILTER_ENABLE) != HAL_OK)
  {
    Error_Handler();
  }

  /** Configure Digital filter
  */
  if (HAL_I2CEx_ConfigDigitalFilter(&hi2c2, 0) != HAL_OK)
  {
    Error_Handler();
  }

}

static void MX_QUADSPI_Init(void)
{

  /* QUADSPI parameter configuration*/
  hqspi.Instance = QUADSPI;
  hqspi.Init.ClockPrescaler = 2;
  hqspi.Init.FifoThreshold = 4;
  hqspi.Init.SampleShifting = QSPI_SAMPLE_SHIFTING_HALFCYCLE;
  hqspi.Init.FlashSize = 23;
  hqspi.Init.ChipSelectHighTime = QSPI_CS_HIGH_TIME_1_CYCLE;
  hqspi.Init.ClockMode = QSPI_CLOCK_MODE_0;
  if (HAL_QSPI_Init(&hqspi) != HAL_OK)
  {
    Error_Handler();
  }

}

static void MX_SPI3_Init(void)
{

  /* SPI3 parameter configuration*/
  hspi3.Instance = SPI3;
  hspi3.Init.Mode = SPI_MODE_MASTER;
  hspi3.Init.Direction = SPI_DIRECTION_2LINES;
  hspi3.Init.DataSize = SPI_DATASIZE_4BIT;
  hspi3.Init.CLKPolarity = SPI_POLARITY_LOW;
  hspi3.Init.CLKPhase = SPI_PHASE_1EDGE;
  hspi3.Init.NSS = SPI_NSS_SOFT;
  hspi3.Init.BaudRatePrescaler = SPI_BAUDRATEPRESCALER_2;
  hspi3.Init.FirstBit = SPI_FIRSTBIT_MSB;
  hspi3.Init.TIMode = SPI_TIMODE_DISABLE;
  hspi3.Init.CRCCalculation = SPI_CRCCALCULATION_DISABLE;
  hspi3.Init.CRCPolynomial = 7;
  hspi3.Init.CRCLength = SPI_CRC_LENGTH_DATASIZE;
  hspi3.Init.NSSPMode = SPI_NSS_PULSE_ENABLE;
  if (HAL_SPI_Init(&hspi3) != HAL_OK)
  {
    Error_Handler();
  }

}

static void MX_USART1_UART_Init(void)
{

  huart1.Instance = USART1;
  huart1.Init.BaudRate = 115200;
  huart1.Init.WordLength = UART_WORDLENGTH_8B;
  huart1.Init.StopBits = UART_STOPBITS_1;
  huart1.Init.Parity = UART_PARITY_NONE;
  huart1.Init.Mode = UART_MODE_TX_RX;
  huart1.Init.HwFlowCtl = UART_HWCONTROL_NONE;
  huart1.Init.OverSampling = UART_OVERSAMPLING_16;
  huart1.Init.OneBitSampling = UART_ONE_BIT_SAMPLE_DISABLE;
  huart1.AdvancedInit.AdvFeatureInit = UART_ADVFEATURE_NO_INIT;
  if (HAL_UART_Init(&huart1) != HAL_OK)
  {
    Error_Handler();
  }

}

static void MX_USART3_UART_Init(void)
{

  huart3.Instance = USART3;
  huart3.Init.BaudRate = 115200;
  huart3.Init.WordLength = UART_WORDLENGTH_8B;
  huart3.Init.StopBits = UART_STOPBITS_1;
  huart3.Init.Parity = UART_PARITY_NONE;
  huart3.Init.Mode = UART_MODE_TX_RX;
  huart3.Init.HwFlowCtl = UART_HWCONTROL_NONE;
  huart3.Init.OverSampling = UART_OVERSAMPLING_16;
  huart3.Init.OneBitSampling = UART_ONE_BIT_SAMPLE_DISABLE;
  huart3.AdvancedInit.AdvFeatureInit = UART_ADVFEATURE_NO_INIT;
  if (HAL_UART_Init(&huart3) != HAL_OK)
  {
    Error_Handler();
  }

}

static void MX_USB_OTG_FS_PCD_Init(void)
{

  hpcd_USB_OTG_FS.Instance = USB_OTG_FS;
  hpcd_USB_OTG_FS.Init.dev_endpoints = 6;
  hpcd_USB_OTG_FS.Init.speed = PCD_SPEED_FULL;
  hpcd_USB_OTG_FS.Init.phy_itface = PCD_PHY_EMBEDDED;
  hpcd_USB_OTG_FS.Init.Sof_enable = DISABLE;
  hpcd_USB_OTG_FS.Init.low_power_enable = DISABLE;
  hpcd_USB_OTG_FS.Init.lpm_enable = DISABLE;
  hpcd_USB_OTG_FS.Init.battery_charging_enable = DISABLE;
  hpcd_USB_OTG_FS.Init.use_dedicated_ep1 = DISABLE;
  hpcd_USB_OTG_FS.Init.vbus_sensing_enable = DISABLE;
  if (HAL_PCD_Init(&hpcd_USB_OTG_FS) != HAL_OK)
  {
    Error_Handler();
  }

}

static void MX_DMA_Init(void)
{

  /* DMA controller clock enable */
  __HAL_RCC_DMA1_CLK_ENABLE();

  /* DMA interrupt init */
  /* DMA1_Channel4_IRQn interrupt configuration */
  HAL_NVIC_SetPriority(DMA1_Channel4_IRQn, 0, 0);
  HAL_NVIC_EnableIRQ(DMA1_Channel4_IRQn);
  /* DMA1_Channel5_IRQn interrupt configuration */
  HAL_NVIC_SetPriority(DMA1_Channel5_IRQn, 0, 0);
  HAL_NVIC_EnableIRQ(DMA1_Channel5_IRQn);

}

static void MX_GPIO_Init(void)
{
  GPIO_InitTypeDef GPIO_InitStruct = {0};

  /* GPIO Ports Clock Enable */
  __HAL_RCC_GPIOE_CLK_ENABLE();
  __HAL_RCC_GPIOC_CLK_ENABLE();
  __HAL_RCC_GPIOA_CLK_ENABLE();
  __HAL_RCC_GPIOB_CLK_ENABLE();
  __HAL_RCC_GPIOD_CLK_ENABLE();

  /*Configure GPIO pin Output Level */
  HAL_GPIO_WritePin(GPIOE, M24SR64_Y_RF_DISABLE_Pin|M24SR64_Y_GPO_Pin|ISM43362_RST_Pin, GPIO_PIN_RESET);

  /*Configure GPIO pin Output Level */
  HAL_GPIO_WritePin(GPIOA, ARD_D10_Pin|SPBTLE_RF_RST_Pin|ARD_D9_Pin, GPIO_PIN_RESET);

  /*Configure GPIO pin Output Level */
  HAL_GPIO_WritePin(GPIOB, ARD_D8_Pin|ISM43362_BOOT0_Pin|ISM43362_WAKEUP_Pin|LED2_Pin
                          |SPSGRF_915_SDN_Pin|ARD_D5_Pin, GPIO_PIN_RESET);

  /*Configure GPIO pin Output Level */
  HAL_GPIO_WritePin(GPIOD, USB_OTG_FS_PWR_EN_Pin|PMOD_RESET_Pin|STSAFE_A100_RESET_Pin, GPIO_PIN_RESET);

  /*Configure GPIO pin Output Level */
  HAL_GPIO_WritePin(SPBTLE_RF_SPI3_CSN_GPIO_Port, SPBTLE_RF_SPI3_CSN_Pin, GPIO_PIN_SET);

  /*Configure GPIO pin Output Level */
  HAL_GPIO_WritePin(GPIOC, VL53L0X_XSHUT_Pin|LED3_WIFI__LED4_BLE_Pin, GPIO_PIN_RESET);

  /*Configure GPIO pin Output Level */
  HAL_GPIO_WritePin(SPSGRF_915_SPI3_CSN_GPIO_Port, SPSGRF_915_SPI3_CSN_Pin, GPIO_PIN_SET);

  /*Configure GPIO pin Output Level */
  HAL_GPIO_WritePin(ISM43362_SPI3_CSN_GPIO_Port, ISM43362_SPI3_CSN_Pin, GPIO_PIN_SET);

  /*Configure GPIO pins : M24SR64_Y_RF_DISABLE_Pin M24SR64_Y_GPO_Pin ISM43362_RST_Pin ISM43362_SPI3_CSN_Pin */
  GPIO_InitStruct.Pin = M24SR64_Y_RF_DISABLE_Pin|M24SR64_Y_GPO_Pin|ISM43362_RST_Pin|ISM43362_SPI3_CSN_Pin;
  GPIO_InitStruct.Mode = GPIO_MODE_OUTPUT_PP;
  GPIO_InitStruct.Pull = GPIO_NOPULL;
  GPIO_InitStruct.Speed = GPIO_SPEED_FREQ_LOW;
  HAL_GPIO_Init(GPIOE, &GPIO_InitStruct);

  /*Configure GPIO pins : USB_OTG_FS_OVRCR_EXTI3_Pin SPSGRF_915_GPIO3_EXTI5_Pin SPBTLE_RF_IRQ_EXTI6_Pin ISM43362_DRDY_EXTI1_Pin */
  GPIO_InitStruct.Pin = USB_OTG_FS_OVRCR_EXTI3_Pin|SPSGRF_915_GPIO3_EXTI5_Pin|SPBTLE_RF_IRQ_EXTI6_Pin|ISM43362_DRDY_EXTI1_Pin;
  GPIO_InitStruct.Mode = GPIO_MODE_IT_RISING;
  GPIO_InitStruct.Pull = GPIO_NOPULL;
  HAL_GPIO_Init(GPIOE, &GPIO_InitStruct);

  /*Configure GPIO pin : BUTTON_EXTI13_Pin */
  GPIO_InitStruct.Pin = BUTTON_EXTI13_Pin;
  GPIO_InitStruct.Mode = GPIO_MODE_IT_FALLING;
  GPIO_InitStruct.Pull = GPIO_NOPULL;
  HAL_GPIO_Init(BUTTON_EXTI13_GPIO_Port, &GPIO_InitStruct);

  /*Configure GPIO pins : ARD_A5_Pin ARD_A4_Pin ARD_A3_Pin ARD_A2_Pin
                           ARD_A1_Pin ARD_A0_Pin */
  GPIO_InitStruct.Pin = ARD_A5_Pin|ARD_A4_Pin|ARD_A3_Pin|ARD_A2_Pin
                          |ARD_A1_Pin|ARD_A0_Pin;
  GPIO_InitStruct.Mode = GPIO_MODE_ANALOG_ADC_CONTROL;
  GPIO_InitStruct.Pull = GPIO_NOPULL;
  HAL_GPIO_Init(GPIOC, &GPIO_InitStruct);

  /*Configure GPIO pins : ARD_D1_Pin ARD_D0_Pin */
  GPIO_InitStruct.Pin = ARD_D1_Pin|ARD_D0_Pin;
  GPIO_InitStruct.Mode = GPIO_MODE_AF_PP;
  GPIO_InitStruct.Pull = GPIO_NOPULL;
  GPIO_InitStruct.Speed = GPIO_SPEED_FREQ_VERY_HIGH;
  GPIO_InitStruct.Alternate = GPIO_AF8_UART4;
  HAL_GPIO_Init(GPIOA, &GPIO_InitStruct);

  /*Configure GPIO pins : ARD_D10_Pin SPBTLE_RF_RST_Pin ARD_D9_Pin */
  GPIO_InitStruct.Pin = ARD_D10_Pin|SPBTLE_RF_RST_Pin|ARD_D9_Pin;
  GPIO_InitStruct.Mode = GPIO_MODE_OUTPUT_PP;
  GPIO_InitStruct.Pull = GPIO_NOPULL;
  GPIO_InitStruct.Speed = GPIO_SPEED_FREQ_LOW;
  HAL_GPIO_Init(GPIOA, &GPIO_InitStruct);

  /*Configure GPIO pin : ARD_D4_Pin */
  GPIO_InitStruct.Pin = ARD_D4_Pin;
  GPIO_InitStruct.Mode = GPIO_MODE_AF_PP;
  GPIO_InitStruct.Pull = GPIO_NOPULL;
  GPIO_InitStruct.Speed = GPIO_SPEED_FREQ_LOW;
  GPIO_InitStruct.Alternate = GPIO_AF1_TIM2;
  HAL_GPIO_Init(ARD_D4_GPIO_Port, &GPIO_InitStruct);

  /*Configure GPIO pin : ARD_D7_Pin */
  GPIO_InitStruct.Pin = ARD_D7_Pin;
  GPIO_InitStruct.Mode = GPIO_MODE_ANALOG_ADC_CONTROL;
  GPIO_InitStruct.Pull = GPIO_NOPULL;
  HAL_GPIO_Init(ARD_D7_GPIO_Port, &GPIO_InitStruct);

  /*Configure GPIO pins : ARD_D13_Pin ARD_D12_Pin ARD_D11_Pin */
  GPIO_InitStruct.Pin = ARD_D13_Pin|ARD_D12_Pin|ARD_D11_Pin;
  GPIO_InitStruct.Mode = GPIO_MODE_AF_PP;
  GPIO_InitStruct.Pull = GPIO_NOPULL;
  GPIO_InitStruct.Speed = GPIO_SPEED_FREQ_VERY_HIGH;
  GPIO_InitStruct.Alternate = GPIO_AF5_SPI1;
  HAL_GPIO_Init(GPIOA, &GPIO_InitStruct);

  /*Configure GPIO pin : ARD_D3_Pin */
  GPIO_InitStruct.Pin = ARD_D3_Pin;
  GPIO_InitStruct.Mode = GPIO_MODE_IT_RISING;
  GPIO_InitStruct.Pull = GPIO_NOPULL;
  HAL_GPIO_Init(ARD_D3_GPIO_Port, &GPIO_InitStruct);

  /*Configure GPIO pin : ARD_D6_Pin */
  GPIO_InitStruct.Pin = ARD_D6_Pin;
  GPIO_InitStruct.Mode = GPIO_MODE_ANALOG_ADC_CONTROL;
  GPIO_InitStruct.Pull = GPIO_NOPULL;
  HAL_GPIO_Init(ARD_D6_GPIO_Port, &GPIO_InitStruct);

  /*Configure GPIO pins : ARD_D8_Pin ISM43362_BOOT0_Pin ISM43362_WAKEUP_Pin LED2_Pin
                           SPSGRF_915_SDN_Pin ARD_D5_Pin SPSGRF_915_SPI3_CSN_Pin */
  GPIO_InitStruct.Pin = ARD_D8_Pin|ISM43362_BOOT0_Pin|ISM43362_WAKEUP_Pin|LED2_Pin
                          |SPSGRF_915_SDN_Pin|ARD_D5_Pin|SPSGRF_915_SPI3_CSN_Pin;
  GPIO_InitStruct.Mode = GPIO_MODE_OUTPUT_PP;
  GPIO_InitStruct.Pull = GPIO_NOPULL;
  GPIO_InitStruct.Speed = GPIO_SPEED_FREQ_LOW;
  HAL_GPIO_Init(GPIOB, &GPIO_InitStruct);

  /*Configure GPIO pins : LPS22HB_INT_DRDY_EXTI0_Pin LSM6DSL_INT1_EXTI11_Pin ARD_D2_Pin HTS221_DRDY_EXTI15_Pin
                           PMOD_IRQ_EXTI12_Pin */
  GPIO_InitStruct.Pin = LPS22HB_INT_DRDY_EXTI0_Pin|LSM6DSL_INT1_EXTI11_Pin|ARD_D2_Pin|HTS221_DRDY_EXTI15_Pin
                          |PMOD_IRQ_EXTI12_Pin;
  GPIO_InitStruct.Mode = GPIO_MODE_IT_RISING;
  GPIO_InitStruct.Pull = GPIO_NOPULL;
  HAL_GPIO_Init(GPIOD, &GPIO_InitStruct);

  /*Configure GPIO pins : USB_OTG_FS_PWR_EN_Pin SPBTLE_RF_SPI3_CSN_Pin PMOD_RESET_Pin STSAFE_A100_RESET_Pin */
  GPIO_InitStruct.Pin = USB_OTG_FS_PWR_EN_Pin|SPBTLE_RF_SPI3_CSN_Pin|PMOD_RESET_Pin|STSAFE_A100_RESET_Pin;
  GPIO_InitStruct.Mode = GPIO_MODE_OUTPUT_PP;
  GPIO_InitStruct.Pull = GPIO_NOPULL;
  GPIO_InitStruct.Speed = GPIO_SPEED_FREQ_LOW;
  HAL_GPIO_Init(GPIOD, &GPIO_InitStruct);

  /*Configure GPIO pins : VL53L0X_XSHUT_Pin LED3_WIFI__LED4_BLE_Pin */
  GPIO_InitStruct.Pin = VL53L0X_XSHUT_Pin|LED3_WIFI__LED4_BLE_Pin;
  GPIO_InitStruct.Mode = GPIO_MODE_OUTPUT_PP;
  GPIO_InitStruct.Pull = GPIO_NOPULL;
  GPIO_InitStruct.Speed = GPIO_SPEED_FREQ_LOW;
  HAL_GPIO_Init(GPIOC, &GPIO_InitStruct);

  /*Configure GPIO pins : VL53L0X_GPIO1_EXTI7_Pin LSM3MDL_DRDY_EXTI8_Pin */
  GPIO_InitStruct.Pin = VL53L0X_GPIO1_EXTI7_Pin|LSM3MDL_DRDY_EXTI8_Pin;
  GPIO_InitStruct.Mode = GPIO_MODE_IT_RISING;
  GPIO_InitStruct.Pull = GPIO_NOPULL;
  HAL_GPIO_Init(GPIOC, &GPIO_InitStruct);

  /*Configure GPIO pin : PMOD_SPI2_SCK_Pin */
  GPIO_InitStruct.Pin = PMOD_SPI2_SCK_Pin;
  GPIO_InitStruct.Mode = GPIO_MODE_AF_PP;
  GPIO_InitStruct.Pull = GPIO_NOPULL;
  GPIO_InitStruct.Speed = GPIO_SPEED_FREQ_VERY_HIGH;
  GPIO_InitStruct.Alternate = GPIO_AF5_SPI2;
  HAL_GPIO_Init(PMOD_SPI2_SCK_GPIO_Port, &GPIO_InitStruct);

  /*Configure GPIO pins : PMOD_UART2_CTS_Pin PMOD_UART2_RTS_Pin PMOD_UART2_TX_Pin PMOD_UART2_RX_Pin */
  GPIO_InitStruct.Pin = PMOD_UART2_CTS_Pin|PMOD_UART2_RTS_Pin|PMOD_UART2_TX_Pin|PMOD_UART2_RX_Pin;
  GPIO_InitStruct.Mode = GPIO_MODE_AF_PP;
  GPIO_InitStruct.Pull = GPIO_NOPULL;
  GPIO_InitStruct.Speed = GPIO_SPEED_FREQ_VERY_HIGH;
  GPIO_InitStruct.Alternate = GPIO_AF7_USART2;
  HAL_GPIO_Init(GPIOD, &GPIO_InitStruct);

  /*Configure GPIO pins : ARD_D15_Pin ARD_D14_Pin */
  GPIO_InitStruct.Pin = ARD_D15_Pin|ARD_D14_Pin;
  GPIO_InitStruct.Mode = GPIO_MODE_AF_OD;
  GPIO_InitStruct.Pull = GPIO_NOPULL;
  GPIO_InitStruct.Speed = GPIO_SPEED_FREQ_VERY_HIGH;
  GPIO_InitStruct.Alternate = GPIO_AF4_I2C1;
  HAL_GPIO_Init(GPIOB, &GPIO_InitStruct);

  /* EXTI interrupt init*/
  HAL_NVIC_SetPriority(EXTI9_5_IRQn, 0, 0);
  HAL_NVIC_EnableIRQ(EXTI9_5_IRQn);

  HAL_NVIC_SetPriority(EXTI15_10_IRQn, 0, 0);
  HAL_NVIC_EnableIRQ(EXTI15_10_IRQn);

}

/* USER CODE BEGIN 4 */
void HAL_I2C_MasterTxCpltCallback(I2C_HandleTypeDef *hi2c)
{
	HAL_GPIO_TogglePin(LED2_GPIO_Port, LED2_Pin);

	irq_complete = 1;
}

void HAL_I2C_MasterRxCpltCallback(I2C_HandleTypeDef *hi2c)
{
	char buf[100];
	if(status_flag == 1)
	{
		status_flag = 0;
		snprintf(buf, sizeof(buf), "(Status register receive) HAL_I2C_Master_Receive_DMA: data: 0x%02x\r\n", status_data);
		HAL_UART_Transmit(&huart1, (uint8_t*)buf, strlen(buf), 1000);
	}
	else
	{
		snprintf(buf, sizeof(buf), "(Auto increment) HAL_I2C_Master_Receive_DMA: data: 0x%04x\r\n", data);
		HAL_UART_Transmit(&huart1, (uint8_t*)buf, strlen(buf), 1000);
	}
	irq_complete = 1;
}
/* USER CODE END 4 */

void Error_Handler(void)
{
  __disable_irq();
  while (1)
  {
  }
}
